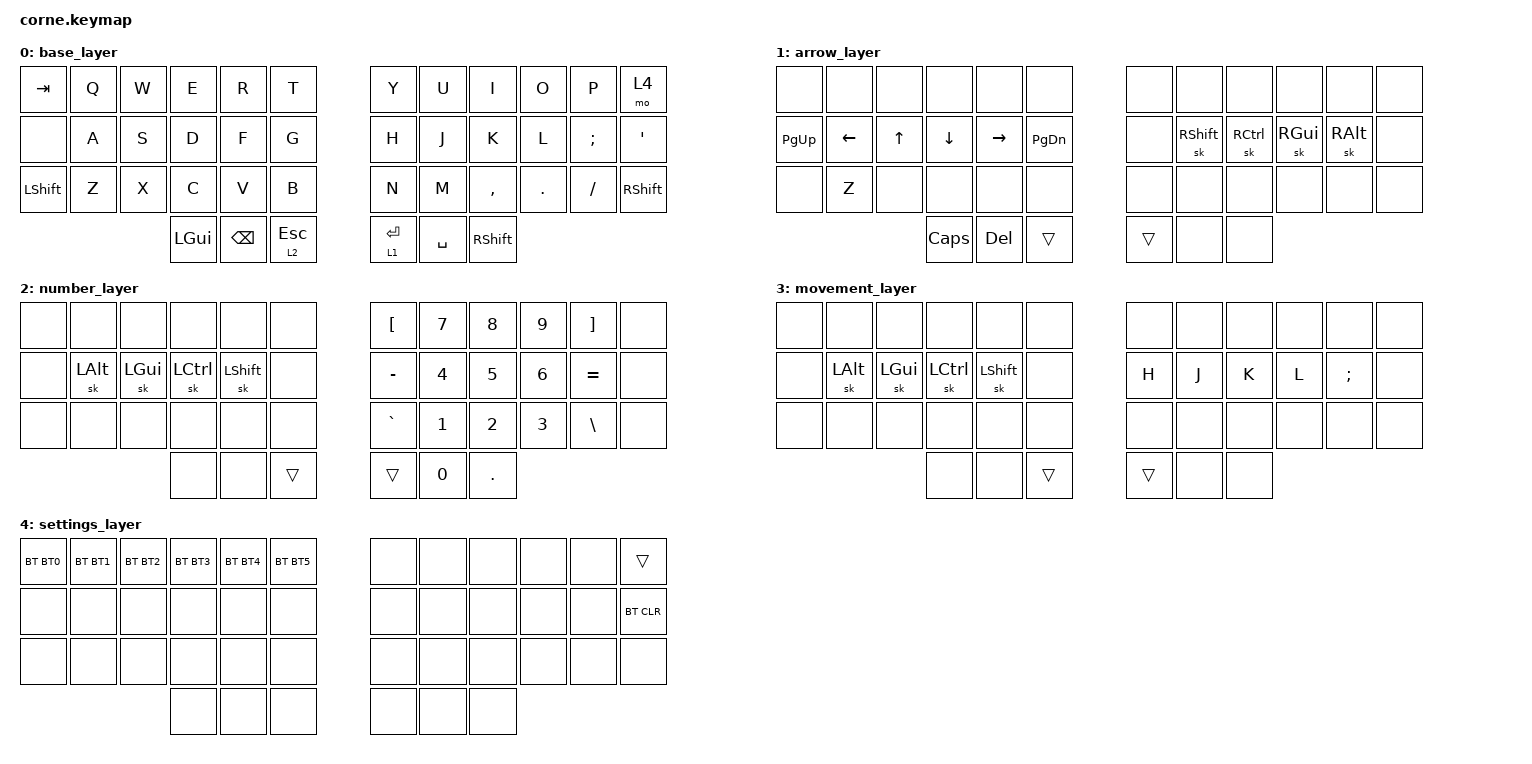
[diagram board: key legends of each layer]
/*
 * Copyright (c) 2020 The ZMK Contributors
 *
 * SPDX-License-Identifier: MIT
 */

#include <behaviors.dtsi>
#include <dt-bindings/zmk/keys.h>
#include <dt-bindings/zmk/bt.h>
#include <dt-bindings/zmk/reset.h>

#define BT0 BT_SEL 0
#define BT1 BT_SEL 1
#define BT2 BT_SEL 2
#define BT3 BT_SEL 3
#define BT4 BT_SEL 4
#define BT5 BT_SEL 5

/ {

    combos {
        compatible = "zmk,combos";

        combo_procreate_layer {
            timeout-ms = <50>;
            key-positions = <0 12>;
            bindings = <&tog 4>;
        };

    };

    conditional_layers {
        compatible = "zmk,conditional-layers";
        tri_layer {
            if-layers = <1 2>;
            then-layer = <3>;
        };
    };

    keymap {
        compatible = "zmk,keymap";

        base_layer {
            bindings = <
                &kp TAB     &kp Q       &kp W       &kp E       &kp R       &kp T                               &kp Y       &kp U       &kp I       &kp O       &kp P       &mo 4
                &none       &kp A       &kp S       &kp D       &kp F       &kp G                               &kp H       &kp J       &kp K       &kp L       &kp SEMI    &kp SQT
                &kp LSHIFT  &kp Z       &kp X       &kp C       &kp V       &kp B                               &kp N       &kp M       &kp COMMA   &kp DOT     &kp FSLH    &kp RSHIFT
                                                                &kp LGUI  &kp BSPC    &lt 2 ESC   &lt 1 RET   &kp SPACE   &kp RSHIFT 
            >;
        };

        arrow_layer {
            bindings = <
                &none       &none       &none       &none       &none       &none                               &none       &none       &none       &none       &none       &none
                &kp PG_UP   &kp LEFT    &kp UP      &kp DOWN    &kp RIGHT   &kp PG_DN                           &none       &sk RSHIFT  &sk RCTRL   &sk RGUI    &sk RALT    &none
                &none       &kp Z       &none       &none       &none       &none                               &none       &none       &none       &none       &none       &none
                                                                &kp CAPS    &kp DEL     &trans      &trans      &none       &none
            >;
        };

        number_layer {
            bindings = <
                &none       &none       &none       &none       &none       &none                               &kp LBKT    &kp N7      &kp N8      &kp N9      &kp RBKT    &none
                &none       &sk LALT    &sk LGUI    &sk LCTRL   &sk LSHIFT  &none                               &kp MINUS   &kp N4      &kp N5      &kp N6      &kp EQUAL   &none
                &none       &none       &none       &none       &none       &none                               &kp GRAVE   &kp N1      &kp N2      &kp N3      &kp BSLH    &none
                                                                &none       &none       &trans       &trans     &kp N0      &kp DOT
            >;
        };

        movement_layer {
            bindings = <
                &none       &none       &none       &none       &none       &none                               &none       &none       &none       &none       &none       &none
                &none       &sk LALT    &sk LGUI    &sk LCTRL   &sk LSHIFT  &none                               &kp H       &kp J       &kp K       &kp L       &kp SEMI    &none
                &none       &none       &none       &none       &none       &none                               &none       &none       &none       &none       &none       &none
                                                                &none       &none       &trans       &trans     &none       &none 
            >;
        };

        settings_layer {
            bindings = <
                &bt BT0     &bt BT1     &bt BT2     &bt BT3     &bt BT4     &bt BT5                             &none       &none       &none       &none       &none       &trans
                &none       &none       &none       &none       &none       &none                               &none       &none       &none       &none       &none       &bt BT_CLR
                &none       &none       &none       &none       &none       &none                               &none       &none       &none       &none       &none       &none
                                                                &none       &none       &none       &none       &none       &none
            >;
        };

    };
};
